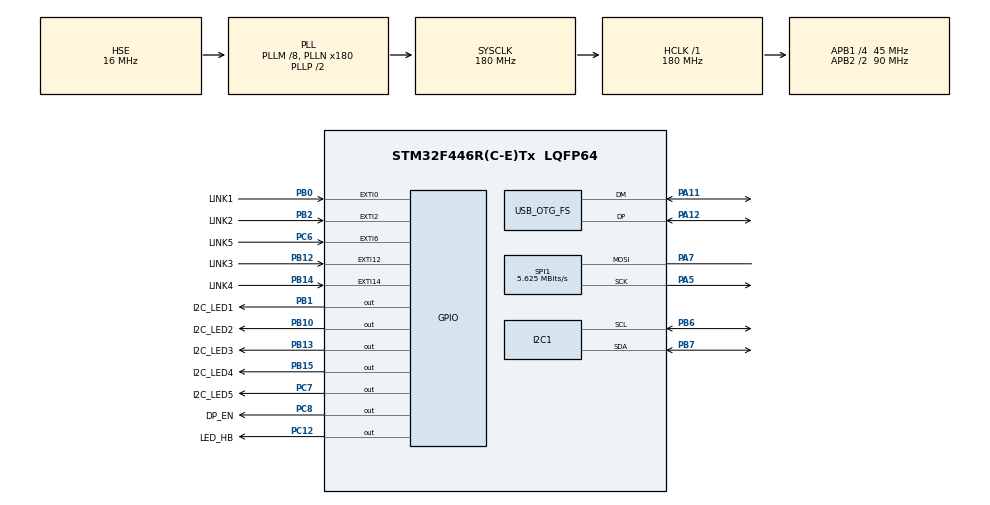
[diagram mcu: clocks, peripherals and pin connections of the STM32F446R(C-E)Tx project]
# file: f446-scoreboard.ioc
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FREERTOS.Tasks01=defaultTask,24,512,StartDefaultTask,Default,NULL,Dynamic,NULL,NULL;heartbeatTask,32,128,StartHeartbeat,Default,NULL,Dynamic,NULL,NULL;rj45LEDTask,40,128,StartRj45LED,Default,NULL,Dynamic,NULL,NULL
FREERTOS.configUSE_NEWLIB_REENTRANT=1
I2C1.I2C_Mode=I2C_Standard
I2C1.NoStretchMode=I2C_NOSTRETCH_ENABLE
Mcu.Family=STM32F4
Mcu.Name=STM32F446R(C-E)Tx
Mcu.Package=LQFP64
NVIC.EXTI0_IRQn=true\:5\:0\:false\:false\:true\:true\:true\:true\:true
NVIC.EXTI15_10_IRQn=true\:5\:0\:false\:false\:true\:true\:true\:true\:true
NVIC.EXTI2_IRQn=true\:5\:0\:false\:false\:true\:true\:true\:true\:true
NVIC.EXTI9_5_IRQn=true\:5\:0\:false\:false\:true\:true\:true\:true\:true
NVIC.OTG_FS_IRQn=true\:5\:0\:false\:false\:true\:true\:false\:true\:true
NVIC.PriorityGroup=NVIC_PRIORITYGROUP_4
NVIC.TIM4_IRQn=true\:15\:0\:false\:false\:true\:false\:false\:true\:true
NVIC.TimeBase=TIM4_IRQn
NVIC.TimeBaseIP=TIM4
PA11.Mode=Device_Only
PA11.Signal=USB_OTG_FS_DM
PA12.Mode=Device_Only
PA12.Signal=USB_OTG_FS_DP
PA13.Mode=Trace_Asynchronous_SW
PA13.Signal=SYS_JTMS-SWDIO
PA14.Mode=Trace_Asynchronous_SW
PA14.Signal=SYS_JTCK-SWCLK
PA5.Mode=Simplex_Bidirectional_Master
PA5.Signal=SPI1_SCK
PA7.Mode=Simplex_Bidirectional_Master
PA7.Signal=SPI1_MOSI
PB0.GPIO_Label=LINK1
PB0.GPIO_ModeDefaultEXTI=GPIO_MODE_IT_RISING_FALLING
PB0.Signal=GPXTI0
PB1.GPIO_Label=I2C_LED1
PB1.GPIO_ModeDefaultOutputPP=GPIO_MODE_OUTPUT_OD
PB1.GPIO_PuPd=GPIO_NOPULL
PB1.GPIO_Speed=GPIO_SPEED_FREQ_HIGH
PB1.PinState=GPIO_PIN_SET
PB1.Signal=GPIO_Output
PB10.GPIO_Label=I2C_LED2
PB10.GPIO_ModeDefaultOutputPP=GPIO_MODE_OUTPUT_OD
PB10.GPIO_PuPd=GPIO_NOPULL
PB10.GPIO_Speed=GPIO_SPEED_FREQ_HIGH
PB10.PinState=GPIO_PIN_SET
PB10.Signal=GPIO_Output
PB12.GPIO_Label=LINK3
PB12.GPIO_ModeDefaultEXTI=GPIO_MODE_IT_RISING_FALLING
PB12.Signal=GPXTI12
PB13.GPIO_Label=I2C_LED3
PB13.GPIO_ModeDefaultOutputPP=GPIO_MODE_OUTPUT_OD
PB13.GPIO_PuPd=GPIO_NOPULL
PB13.GPIO_Speed=GPIO_SPEED_FREQ_HIGH
PB13.PinState=GPIO_PIN_SET
PB13.Signal=GPIO_Output
PB14.GPIO_Label=LINK4
PB14.GPIO_ModeDefaultEXTI=GPIO_MODE_IT_RISING_FALLING
PB14.Signal=GPXTI14
PB15.GPIO_Label=I2C_LED4
PB15.GPIO_ModeDefaultOutputPP=GPIO_MODE_OUTPUT_OD
PB15.GPIO_PuPd=GPIO_NOPULL
PB15.GPIO_Speed=GPIO_SPEED_FREQ_HIGH
PB15.PinState=GPIO_PIN_SET
PB15.Signal=GPIO_Output
PB2.GPIO_Label=LINK2
PB2.GPIO_ModeDefaultEXTI=GPIO_MODE_IT_RISING_FALLING
PB2.Signal=GPXTI2
PB3.Mode=Trace_Asynchronous_SW
PB3.Signal=SYS_JTDO-SWO
PB6.Mode=I2C
PB6.Signal=I2C1_SCL
PB7.Mode=I2C
PB7.Signal=I2C1_SDA
PC12.GPIO_Label=LED_HB
PC12.Signal=GPIO_Output
PC14-OSC32_IN.Mode=LSE-External-Oscillator
PC14-OSC32_IN.Signal=RCC_OSC32_IN
PC15-OSC32_OUT.Mode=LSE-External-Oscillator
PC15-OSC32_OUT.Signal=RCC_OSC32_OUT
PC6.GPIO_Label=LINK5
PC6.GPIO_ModeDefaultEXTI=GPIO_MODE_IT_RISING_FALLING
PC6.Signal=GPXTI6
PC7.GPIO_Label=I2C_LED5
PC7.GPIO_ModeDefaultOutputPP=GPIO_MODE_OUTPUT_OD
PC7.GPIO_PuPd=GPIO_NOPULL
PC7.GPIO_Speed=GPIO_SPEED_FREQ_HIGH
PC7.PinState=GPIO_PIN_SET
PC7.Signal=GPIO_Output
PC8.GPIO_Label=DP_EN
PC8.GPIO_ModeDefaultOutputPP=GPIO_MODE_OUTPUT_PP
PC8.GPIO_PuPd=GPIO_PULLUP
PC8.PinState=GPIO_PIN_SET
PC8.Signal=GPIO_Output
PH0-OSC_IN.Mode=HSE-External-Oscillator
PH0-OSC_IN.Signal=RCC_OSC_IN
PH1-OSC_OUT.Mode=HSE-External-Oscillator
PH1-OSC_OUT.Signal=RCC_OSC_OUT
ProjectManager.HeapSize=0x1000
ProjectManager.StackSize=0x400
ProjectManager.TargetToolchain=STM32CubeIDE
RCC.AHBFreq_Value=180000000
RCC.APB1CLKDivider=RCC_HCLK_DIV4
RCC.APB1Freq_Value=45000000
RCC.APB1TimFreq_Value=90000000
RCC.APB2CLKDivider=RCC_HCLK_DIV2
RCC.APB2Freq_Value=90000000
RCC.APB2TimFreq_Value=180000000
RCC.CortexFreq_Value=180000000
RCC.HCLKFreq_Value=180000000
RCC.HSE_VALUE=16000000
RCC.PLLM=8
RCC.PLLN=180
RCC.PLLSAIP=RCC_PLLSAIP_DIV4
RCC.RCC_RTC_Clock_SourceVirtual=RCC_RTCCLKSOURCE_LSE
RCC.SYSCLKFreq_VALUE=180000000
RCC.SYSCLKSource=RCC_SYSCLKSOURCE_PLLCLK
RCC.USBCLockSelection=RCC_CLK48CLKSOURCE_PLLSAIP
RCC.USBFreq_Value=48000000
RCC.VCOOutputFreq_Value=360000000
RTC.Format=RTC_FORMAT_BIN
SPI1.BaudRatePrescaler=SPI_BAUDRATEPRESCALER_16
SPI1.CLKPolarity=SPI_POLARITY_HIGH
SPI1.CalculateBaudRate=5.625 MBits/s
SPI1.Direction=SPI_DIRECTION_1LINE
SPI1.Mode=SPI_MODE_MASTER
SPI1.VirtualType=VM_MASTER
TIM2.Prescaler=0
TIM5.Prescaler=9000-1
USB_DEVICE.CLASS_NAME_FS=CDC
USB_DEVICE.PRODUCT_STRING_CDC_FS=Scoreboard Virtual ComPort
USB_DEVICE.VirtualMode-CDC_FS=Cdc
USB_DEVICE.VirtualModeFS=Cdc_FS
USB_OTG_FS.VirtualMode=Device_Only
VP_FREERTOS_VS_CMSIS_V2.Mode=CMSIS_V2
VP_RTC_VS_RTC_Activate.Mode=RTC_Enabled
VP_RTC_VS_RTC_Calendar.Mode=RTC_Calendar
VP_SYS_VS_tim4.Mode=TIM4
VP_TIM2_VS_ClockSourceINT.Mode=Internal
VP_TIM5_VS_ClockSourceINT.Mode=Internal
VP_USB_DEVICE_VS_USB_DEVICE_CDC_FS.Mode=CDC_FS
board=custom

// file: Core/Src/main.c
/* USER CODE BEGIN Header */
/**
 ******************************************************************************
 * @file           : main.c
 * @brief          : Main program body
 ******************************************************************************
 * @attention
 *
 * Copyright (c) 2024 STMicroelectronics.
 * All rights reserved.
 *
 * This software is licensed under terms that can be found in the LICENSE file
 * in the root directory of this software component.
 * If no LICENSE file comes with this software, it is provided AS-IS.
 *
 ******************************************************************************
 */
/* USER CODE END Header */
#include "main.h"
#include "cmsis_os.h"
#include "usb_device.h"

/* USER CODE BEGIN Includes */
#include <string.h>
#include <stdlib.h>
#include <stdint.h>
#include <stdio.h>
#include "ring_buffer.h"
#include "usbd_cdc_if.h"
#include "scoreboard.h"
#include "led_indicator.h"

/* USER CODE END Includes */

I2C_HandleTypeDef hi2c1;

RTC_HandleTypeDef hrtc;

SPI_HandleTypeDef hspi1;

TIM_HandleTypeDef htim2;
TIM_HandleTypeDef htim5;

/* Definitions for defaultTask */
osThreadId_t defaultTaskHandle;
const osThreadAttr_t defaultTask_attributes = { .name = "defaultTask", .stack_size = 512 * 4, .priority =
        (osPriority_t) osPriorityNormal, };
/* Definitions for heartbeatTask */
osThreadId_t heartbeatTaskHandle;
const osThreadAttr_t heartbeatTask_attributes = { .name = "heartbeatTask", .stack_size = 128 * 4, .priority =
        (osPriority_t) osPriorityAboveNormal, };
/* Definitions for rj45LEDTask */
osThreadId_t rj45LEDTaskHandle;
const osThreadAttr_t rj45LEDTask_attributes = { .name = "rj45LEDTask", .stack_size = 128 * 4, .priority =
        (osPriority_t) osPriorityHigh, };
/* USER CODE BEGIN PV */
ring_buffer_t rx_buffer;
led_indicator_t console_indicator[MAX_NUM_CONSOLES];
led_indicator_t serial_indicator;
uint8_t delta_link = 0;
uint8_t link_status[MAX_NUM_CONSOLES] = { 0 };

/* USER CODE END PV */

void SystemClock_Config(void);
static void MX_GPIO_Init(void);
static void MX_I2C1_Init(void);
static void MX_RTC_Init(void);
static void MX_SPI1_Init(void);
static void MX_TIM5_Init(void);
static void MX_TIM2_Init(void);
void StartDefaultTask(void *argument);
void StartHeartbeat(void *argument);
void StartRj45LED(void *argument);

int main(void) {

    /* MCU Configuration--------------------------------------------------------*/

    /* Reset of all peripherals, Initializes the Flash interface and the Systick. */
    HAL_Init();

    /* Configure the system clock */
    SystemClock_Config();

    /* Initialize all configured peripherals */
    MX_GPIO_Init();
    MX_I2C1_Init();
    MX_RTC_Init();
    MX_SPI1_Init();
    MX_TIM5_Init();
    MX_TIM2_Init();
    /* USER CODE BEGIN 2 */
    HAL_TIM_Base_Start(&htim2);
    HAL_TIM_Base_Start(&htim5);

    link_status[0] = !HAL_GPIO_ReadPin(LINK1_GPIO_Port, LINK1_Pin);
    link_status[1] = !HAL_GPIO_ReadPin(LINK2_GPIO_Port, LINK2_Pin);
    link_status[2] = !HAL_GPIO_ReadPin(LINK3_GPIO_Port, LINK3_Pin);
    link_status[3] = !HAL_GPIO_ReadPin(LINK4_GPIO_Port, LINK4_Pin);
    link_status[4] = !HAL_GPIO_ReadPin(LINK5_GPIO_Port, LINK5_Pin);
    /* USER CODE END 2 */

    /* Init scheduler */
    osKernelInitialize();

    /* Create the thread(s) */
    /* creation of defaultTask */
    defaultTaskHandle = osThreadNew(StartDefaultTask, NULL, &defaultTask_attributes);

    /* creation of heartbeatTask */
    heartbeatTaskHandle = osThreadNew(StartHeartbeat, NULL, &heartbeatTask_attributes);

    /* creation of rj45LEDTask */
    rj45LEDTaskHandle = osThreadNew(StartRj45LED, NULL, &rj45LEDTask_attributes);

    /* Start scheduler */
    osKernelStart();

    /* We should never get here as control is now taken by the scheduler */
    /* Infinite loop */
    while (1) {

    }
}

void SystemClock_Config(void) {
    RCC_OscInitTypeDef RCC_OscInitStruct = { 0 };
    RCC_ClkInitTypeDef RCC_ClkInitStruct = { 0 };

    /** Configure the main internal regulator output voltage
     */
    __HAL_RCC_PWR_CLK_ENABLE();
    __HAL_PWR_VOLTAGESCALING_CONFIG(PWR_REGULATOR_VOLTAGE_SCALE1);

    /** Initializes the RCC Oscillators according to the specified parameters
     * in the RCC_OscInitTypeDef structure.
     */
    RCC_OscInitStruct.OscillatorType = RCC_OSCILLATORTYPE_HSE | RCC_OSCILLATORTYPE_LSE;
    RCC_OscInitStruct.HSEState = RCC_HSE_ON;
    RCC_OscInitStruct.LSEState = RCC_LSE_ON;
    RCC_OscInitStruct.PLL.PLLState = RCC_PLL_ON;
    RCC_OscInitStruct.PLL.PLLSource = RCC_PLLSOURCE_HSE;
    RCC_OscInitStruct.PLL.PLLM = 8;
    RCC_OscInitStruct.PLL.PLLN = 180;
    RCC_OscInitStruct.PLL.PLLP = RCC_PLLP_DIV2;
    RCC_OscInitStruct.PLL.PLLQ = 2;
    RCC_OscInitStruct.PLL.PLLR = 2;
    if (HAL_RCC_OscConfig(&RCC_OscInitStruct) != HAL_OK) {
        Error_Handler();
    }

    /** Activate the Over-Drive mode
     */
    if (HAL_PWREx_EnableOverDrive() != HAL_OK) {
        Error_Handler();
    }

    /** Initializes the CPU, AHB and APB buses clocks
     */
    RCC_ClkInitStruct.ClockType = RCC_CLOCKTYPE_HCLK | RCC_CLOCKTYPE_SYSCLK | RCC_CLOCKTYPE_PCLK1
            | RCC_CLOCKTYPE_PCLK2;
    RCC_ClkInitStruct.SYSCLKSource = RCC_SYSCLKSOURCE_PLLCLK;
    RCC_ClkInitStruct.AHBCLKDivider = RCC_SYSCLK_DIV1;
    RCC_ClkInitStruct.APB1CLKDivider = RCC_HCLK_DIV4;
    RCC_ClkInitStruct.APB2CLKDivider = RCC_HCLK_DIV2;

    if (HAL_RCC_ClockConfig(&RCC_ClkInitStruct, FLASH_LATENCY_5) != HAL_OK) {
        Error_Handler();
    }
}

static void MX_I2C1_Init(void) {

    hi2c1.Instance = I2C1;
    hi2c1.Init.ClockSpeed = 100000;
    hi2c1.Init.DutyCycle = I2C_DUTYCYCLE_2;
    hi2c1.Init.OwnAddress1 = 0;
    hi2c1.Init.AddressingMode = I2C_ADDRESSINGMODE_7BIT;
    hi2c1.Init.DualAddressMode = I2C_DUALADDRESS_DISABLE;
    hi2c1.Init.OwnAddress2 = 0;
    hi2c1.Init.GeneralCallMode = I2C_GENERALCALL_DISABLE;
    hi2c1.Init.NoStretchMode = I2C_NOSTRETCH_ENABLE;
    if (HAL_I2C_Init(&hi2c1) != HAL_OK) {
        Error_Handler();
    }

}

static void MX_RTC_Init(void) {

    RTC_TimeTypeDef sTime = { 0 };
    RTC_DateTypeDef sDate = { 0 };

    /** Initialize RTC Only
     */
    hrtc.Instance = RTC;
    hrtc.Init.HourFormat = RTC_HOURFORMAT_24;
    hrtc.Init.AsynchPrediv = 127;
    hrtc.Init.SynchPrediv = 255;
    hrtc.Init.OutPut = RTC_OUTPUT_DISABLE;
    hrtc.Init.OutPutPolarity = RTC_OUTPUT_POLARITY_HIGH;
    hrtc.Init.OutPutType = RTC_OUTPUT_TYPE_OPENDRAIN;
    if (HAL_RTC_Init(&hrtc) != HAL_OK) {
        Error_Handler();
    }

    /** Initialize RTC and set the Time and Date
     */
    sTime.Hours = 0;
    sTime.Minutes = 0;
    sTime.Seconds = 0;
    sTime.DayLightSaving = RTC_DAYLIGHTSAVING_NONE;
    sTime.StoreOperation = RTC_STOREOPERATION_RESET;
    if (HAL_RTC_SetTime(&hrtc, &sTime, RTC_FORMAT_BIN) != HAL_OK) {
        Error_Handler();
    }
    sDate.WeekDay = RTC_WEEKDAY_MONDAY;
    sDate.Month = RTC_MONTH_JANUARY;
    sDate.Date = 1;
    sDate.Year = 0;

    if (HAL_RTC_SetDate(&hrtc, &sDate, RTC_FORMAT_BIN) != HAL_OK) {
        Error_Handler();
    }

}

static void MX_SPI1_Init(void) {

    /* SPI1 parameter configuration*/
    hspi1.Instance = SPI1;
    hspi1.Init.Mode = SPI_MODE_MASTER;
    hspi1.Init.Direction = SPI_DIRECTION_1LINE;
    hspi1.Init.DataSize = SPI_DATASIZE_8BIT;
    hspi1.Init.CLKPolarity = SPI_POLARITY_HIGH;
    hspi1.Init.CLKPhase = SPI_PHASE_1EDGE;
    hspi1.Init.NSS = SPI_NSS_SOFT;
    hspi1.Init.BaudRatePrescaler = SPI_BAUDRATEPRESCALER_16;
    hspi1.Init.FirstBit = SPI_FIRSTBIT_MSB;
    hspi1.Init.TIMode = SPI_TIMODE_DISABLE;
    hspi1.Init.CRCCalculation = SPI_CRCCALCULATION_DISABLE;
    hspi1.Init.CRCPolynomial = 10;
    if (HAL_SPI_Init(&hspi1) != HAL_OK) {
        Error_Handler();
    }

}

static void MX_TIM2_Init(void) {

    TIM_ClockConfigTypeDef sClockSourceConfig = { 0 };
    TIM_MasterConfigTypeDef sMasterConfig = { 0 };

    htim2.Instance = TIM2;
    htim2.Init.Prescaler = 0;
    htim2.Init.CounterMode = TIM_COUNTERMODE_UP;
    htim2.Init.Period = 4294967295;
    htim2.Init.ClockDivision = TIM_CLOCKDIVISION_DIV1;
    htim2.Init.AutoReloadPreload = TIM_AUTORELOAD_PRELOAD_DISABLE;
    if (HAL_TIM_Base_Init(&htim2) != HAL_OK) {
        Error_Handler();
    }
    sClockSourceConfig.ClockSource = TIM_CLOCKSOURCE_INTERNAL;
    if (HAL_TIM_ConfigClockSource(&htim2, &sClockSourceConfig) != HAL_OK) {
        Error_Handler();
    }
    sMasterConfig.MasterOutputTrigger = TIM_TRGO_RESET;
    sMasterConfig.MasterSlaveMode = TIM_MASTERSLAVEMODE_DISABLE;
    if (HAL_TIMEx_MasterConfigSynchronization(&htim2, &sMasterConfig) != HAL_OK) {
        Error_Handler();
    }

}

static void MX_TIM5_Init(void) {

    TIM_ClockConfigTypeDef sClockSourceConfig = { 0 };
    TIM_MasterConfigTypeDef sMasterConfig = { 0 };

    htim5.Instance = TIM5;
    htim5.Init.Prescaler = 9000 - 1;
    htim5.Init.CounterMode = TIM_COUNTERMODE_UP;
    htim5.Init.Period = 4294967295;
    htim5.Init.ClockDivision = TIM_CLOCKDIVISION_DIV1;
    htim5.Init.AutoReloadPreload = TIM_AUTORELOAD_PRELOAD_DISABLE;
    if (HAL_TIM_Base_Init(&htim5) != HAL_OK) {
        Error_Handler();
    }
    sClockSourceConfig.ClockSource = TIM_CLOCKSOURCE_INTERNAL;
    if (HAL_TIM_ConfigClockSource(&htim5, &sClockSourceConfig) != HAL_OK) {
        Error_Handler();
    }
    sMasterConfig.MasterOutputTrigger = TIM_TRGO_RESET;
    sMasterConfig.MasterSlaveMode = TIM_MASTERSLAVEMODE_DISABLE;
    if (HAL_TIMEx_MasterConfigSynchronization(&htim5, &sMasterConfig) != HAL_OK) {
        Error_Handler();
    }

}

static void MX_GPIO_Init(void) {
    GPIO_InitTypeDef GPIO_InitStruct = { 0 };

    /* GPIO Ports Clock Enable */
    __HAL_RCC_GPIOC_CLK_ENABLE();
    __HAL_RCC_GPIOH_CLK_ENABLE();
    __HAL_RCC_GPIOA_CLK_ENABLE();
    __HAL_RCC_GPIOB_CLK_ENABLE();
    __HAL_RCC_GPIOD_CLK_ENABLE();

    /*Configure GPIO pin Output Level */
    HAL_GPIO_WritePin(GPIOB, I2C_LED1_Pin | I2C_LED2_Pin | I2C_LED3_Pin | I2C_LED4_Pin, GPIO_PIN_SET);

    /*Configure GPIO pin Output Level */
    HAL_GPIO_WritePin(GPIOC, I2C_LED5_Pin | DP_EN_Pin, GPIO_PIN_SET);

    /*Configure GPIO pin Output Level */
    HAL_GPIO_WritePin(LED_HB_GPIO_Port, LED_HB_Pin, GPIO_PIN_RESET);

    /*Configure GPIO pins : PC13 PC0 PC1 PC2
     PC3 PC4 PC5 PC9
     PC10 PC11 */
    GPIO_InitStruct.Pin = GPIO_PIN_13 | GPIO_PIN_0 | GPIO_PIN_1 | GPIO_PIN_2 | GPIO_PIN_3 | GPIO_PIN_4
            | GPIO_PIN_5 | GPIO_PIN_9 | GPIO_PIN_10 | GPIO_PIN_11;
    GPIO_InitStruct.Mode = GPIO_MODE_ANALOG;
    GPIO_InitStruct.Pull = GPIO_NOPULL;
    HAL_GPIO_Init(GPIOC, &GPIO_InitStruct);

    /*Configure GPIO pins : PA0 PA1 PA2 PA3
     PA4 PA6 PA8 PA9
     PA10 PA15 */
    GPIO_InitStruct.Pin = GPIO_PIN_0 | GPIO_PIN_1 | GPIO_PIN_2 | GPIO_PIN_3 | GPIO_PIN_4 | GPIO_PIN_6
            | GPIO_PIN_8 | GPIO_PIN_9 | GPIO_PIN_10 | GPIO_PIN_15;
    GPIO_InitStruct.Mode = GPIO_MODE_ANALOG;
    GPIO_InitStruct.Pull = GPIO_NOPULL;
    HAL_GPIO_Init(GPIOA, &GPIO_InitStruct);

    /*Configure GPIO pins : LINK1_Pin LINK2_Pin LINK3_Pin LINK4_Pin */
    GPIO_InitStruct.Pin = LINK1_Pin | LINK2_Pin | LINK3_Pin | LINK4_Pin;
    GPIO_InitStruct.Mode = GPIO_MODE_IT_RISING_FALLING;
    GPIO_InitStruct.Pull = GPIO_NOPULL;
    HAL_GPIO_Init(GPIOB, &GPIO_InitStruct);

    /*Configure GPIO pins : I2C_LED1_Pin I2C_LED2_Pin I2C_LED3_Pin I2C_LED4_Pin */
    GPIO_InitStruct.Pin = I2C_LED1_Pin | I2C_LED2_Pin | I2C_LED3_Pin | I2C_LED4_Pin;
    GPIO_InitStruct.Mode = GPIO_MODE_OUTPUT_OD;
    GPIO_InitStruct.Pull = GPIO_NOPULL;
    GPIO_InitStruct.Speed = GPIO_SPEED_FREQ_HIGH;
    HAL_GPIO_Init(GPIOB, &GPIO_InitStruct);

    /*Configure GPIO pin : LINK5_Pin */
    GPIO_InitStruct.Pin = LINK5_Pin;
    GPIO_InitStruct.Mode = GPIO_MODE_IT_RISING_FALLING;
    GPIO_InitStruct.Pull = GPIO_NOPULL;
    HAL_GPIO_Init(LINK5_GPIO_Port, &GPIO_InitStruct);

    /*Configure GPIO pin : I2C_LED5_Pin */
    GPIO_InitStruct.Pin = I2C_LED5_Pin;
    GPIO_InitStruct.Mode = GPIO_MODE_OUTPUT_OD;
    GPIO_InitStruct.Pull = GPIO_NOPULL;
    GPIO_InitStruct.Speed = GPIO_SPEED_FREQ_HIGH;
    HAL_GPIO_Init(I2C_LED5_GPIO_Port, &GPIO_InitStruct);

    /*Configure GPIO pin : DP_EN_Pin */
    GPIO_InitStruct.Pin = DP_EN_Pin;
    GPIO_InitStruct.Mode = GPIO_MODE_OUTPUT_PP;
    GPIO_InitStruct.Pull = GPIO_PULLUP;
    GPIO_InitStruct.Speed = GPIO_SPEED_FREQ_LOW;
    HAL_GPIO_Init(DP_EN_GPIO_Port, &GPIO_InitStruct);

    /*Configure GPIO pin : LED_HB_Pin */
    GPIO_InitStruct.Pin = LED_HB_Pin;
    GPIO_InitStruct.Mode = GPIO_MODE_OUTPUT_PP;
    GPIO_InitStruct.Pull = GPIO_NOPULL;
    GPIO_InitStruct.Speed = GPIO_SPEED_FREQ_LOW;
    HAL_GPIO_Init(LED_HB_GPIO_Port, &GPIO_InitStruct);

    /*Configure GPIO pin : PD2 */
    GPIO_InitStruct.Pin = GPIO_PIN_2;
    GPIO_InitStruct.Mode = GPIO_MODE_ANALOG;
    GPIO_InitStruct.Pull = GPIO_NOPULL;
    HAL_GPIO_Init(GPIOD, &GPIO_InitStruct);

    /*Configure GPIO pins : PB4 PB5 PB8 PB9 */
    GPIO_InitStruct.Pin = GPIO_PIN_4 | GPIO_PIN_5 | GPIO_PIN_8 | GPIO_PIN_9;
    GPIO_InitStruct.Mode = GPIO_MODE_ANALOG;
    GPIO_InitStruct.Pull = GPIO_NOPULL;
    HAL_GPIO_Init(GPIOB, &GPIO_InitStruct);

    /* EXTI interrupt init*/
    HAL_NVIC_SetPriority(EXTI0_IRQn, 5, 0);
    HAL_NVIC_EnableIRQ(EXTI0_IRQn);

    HAL_NVIC_SetPriority(EXTI2_IRQn, 5, 0);
    HAL_NVIC_EnableIRQ(EXTI2_IRQn);

    HAL_NVIC_SetPriority(EXTI9_5_IRQn, 5, 0);
    HAL_NVIC_EnableIRQ(EXTI9_5_IRQn);

    HAL_NVIC_SetPriority(EXTI15_10_IRQn, 5, 0);
    HAL_NVIC_EnableIRQ(EXTI15_10_IRQn);

}

/* USER CODE BEGIN 4 */
void HAL_GPIO_EXTI_Callback(uint16_t GPIO_Pin) {
    switch (GPIO_Pin) {
        case LINK1_Pin:
            link_status[0] = !HAL_GPIO_ReadPin(LINK1_GPIO_Port, LINK1_Pin);
            break;
        case LINK2_Pin:
            link_status[1] = !HAL_GPIO_ReadPin(LINK2_GPIO_Port, LINK2_Pin);
            break;
        case LINK3_Pin:
            link_status[2] = !HAL_GPIO_ReadPin(LINK3_GPIO_Port, LINK3_Pin);
            break;
        case LINK4_Pin:
            link_status[3] = !HAL_GPIO_ReadPin(LINK4_GPIO_Port, LINK4_Pin);
            break;
        case LINK5_Pin:
            link_status[4] = !HAL_GPIO_ReadPin(LINK5_GPIO_Port, LINK5_Pin);
            break;
        default:
            __NOP();
            break;
    }
}

/* USER CODE END 4 */

void StartDefaultTask(void *argument) {
    /* init code for USB_DEVICE */
    MX_USB_DEVICE_Init();
    /* USER CODE BEGIN 5 */

    /* Infinite loop */
    for (;;) {
        scoreboard_init(); // Initialize the scoreboard with default values
        scoreboard_start(); // Start the scoreboard event loop
        // Should never get here
    }
    /* USER CODE END 5 */
}

void StartHeartbeat(void *argument) {
    /* USER CODE BEGIN StartHeartbeat */
    /* Infinite loop */
    for (;;) {
        for (;;) {
            HAL_GPIO_TogglePin(LED_HB_GPIO_Port, LED_HB_Pin);
            osDelay(500);
        }
    }
    /* USER CODE END StartHeartbeat */
}

void StartRj45LED(void *argument) {
    /* USER CODE BEGIN StartRj45LED */
    led_indicator_init(&console_indicator[0], I2C_LED1_GPIO_Port, I2C_LED1_Pin);
    led_indicator_set_blink(&console_indicator[0], 400, 10);
    led_indicator_init(&console_indicator[1], I2C_LED2_GPIO_Port, I2C_LED2_Pin);
    led_indicator_set_blink(&console_indicator[1], 400, 10);
    led_indicator_init(&console_indicator[2], I2C_LED3_GPIO_Port, I2C_LED3_Pin);
    led_indicator_set_blink(&console_indicator[2], 400, 10);
    led_indicator_init(&console_indicator[3], I2C_LED4_GPIO_Port, I2C_LED4_Pin);
    led_indicator_set_blink(&console_indicator[3], 400, 10);
    led_indicator_init(&console_indicator[4], I2C_LED5_GPIO_Port, I2C_LED5_Pin);
    led_indicator_set_blink(&console_indicator[4], 400, 10);

    //    for (int i = 0; i < MAX_NUM_CONSOLES; i++) {
    //        led_indicator_init(&LED_indicator[i], GPIOB, GPIO_PIN_0);
    //    }

    /* Infinite loop */
    for (;;) {
        for (int i = 0; i < MAX_NUM_CONSOLES; i++) {
            led_indicator_update(&console_indicator[i], TIM5->CNT);
        }
        osDelay(5);
    }
    /* USER CODE END StartRj45LED */
}

void HAL_TIM_PeriodElapsedCallback(TIM_HandleTypeDef *htim) {
    if (htim->Instance == TIM4) {
        HAL_IncTick();
    }
}

void Error_Handler(void) {
    __disable_irq();
    while (1) {
    }
}
